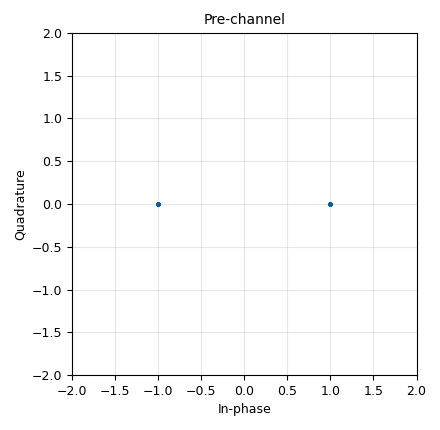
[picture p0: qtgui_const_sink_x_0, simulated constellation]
<?xml version='1.0' encoding='utf-8'?>
<?grc format='1' created='3.7.11'?>
<flow_graph>
<block>
<key>options</key>
<param><key>id</key><value>top_block</value></param>
<param><key>generate_options</key><value>qt_gui</value></param>
</block>
<block>
<key>variable</key>
<param><key>id</key><value>samp_rate</value></param>
<param><key>value</key><value>32000</value></param>
</block>
<block>
<key>analog_const_source_x</key>
<param><key>id</key><value>analog_const_source_x_0</value></param>
<param><key>const</key><value>0</value></param>
<param><key>type</key><value>float</value></param>
</block>
<block>
<key>analog_random_uniform_source_x</key>
<param><key>id</key><value>analog_random_uniform_source_x_0</value></param>
<param><key>maximum</key><value>2</value></param>
<param><key>minimum</key><value>0</value></param>
<param><key>type</key><value>int</value></param>
<param><key>seed</key><value>0</value></param>
</block>
<block>
<key>blocks_add_const_vxx</key>
<param><key>id</key><value>blocks_add_const_vxx_0</value></param>
<param><key>const</key><value>-1</value></param>
<param><key>type</key><value>float</value></param>
</block>
<block>
<key>blocks_float_to_complex</key>
<param><key>id</key><value>blocks_float_to_complex_0</value></param>
</block>
<block>
<key>blocks_int_to_float</key>
<param><key>id</key><value>blocks_int_to_float_0</value></param>
<param><key>scale</key><value>1</value></param>
</block>
<block>
<key>blocks_multiply_const_vxx</key>
<param><key>id</key><value>blocks_multiply_const_vxx_0</value></param>
<param><key>const</key><value>2</value></param>
<param><key>type</key><value>float</value></param>
</block>
<block>
<key>blocks_throttle</key>
<param><key>id</key><value>blocks_throttle_0</value></param>
<param><key>samples_per_second</key><value>samp_rate/8</value></param>
<param><key>type</key><value>complex</value></param>
</block>
<block>
<key>qtgui_const_sink_x</key>
<param><key>id</key><value>qtgui_const_sink_x_0</value></param>
<param><key>gui_hint</key><value>(0,0)</value></param>
<param><key>name</key><value>"Pre-channel"</value></param>
<param><key>size</key><value>1024</value></param>
<param><key>type</key><value>complex</value></param>
</block>
<block>
<key>qtgui_const_sink_x</key>
<param><key>id</key><value>qtgui_const_sink_x_0_0</value></param>
<param><key>gui_hint</key><value>(0, 1)</value></param>
<param><key>name</key><value>"Post-channel"</value></param>
<param><key>size</key><value>2048</value></param>
<param><key>type</key><value>complex</value></param>
</block>
<block>
<key>watterson_watterson</key>
<param><key>id</key><value>watterson_watterson_0</value></param>
<param><key>doppler_spread</key><value>1</value></param>
<param><key>n_paths</key><value>3</value></param>
<param><key>path_delays_s</key><value>[0, 0.01, 0.05]</value></param>
<param><key>path_gains_dB</key><value>[0, 0, 1]</value></param>
</block>
<connection><source_block_id>analog_const_source_x_0</source_block_id><sink_block_id>blocks_float_to_complex_0</sink_block_id><source_key>0</source_key><sink_key>1</sink_key></connection>
<connection><source_block_id>analog_random_uniform_source_x_0</source_block_id><sink_block_id>blocks_int_to_float_0</sink_block_id><source_key>0</source_key><sink_key>0</sink_key></connection>
<connection><source_block_id>blocks_add_const_vxx_0</source_block_id><sink_block_id>blocks_float_to_complex_0</sink_block_id><source_key>0</source_key><sink_key>0</sink_key></connection>
<connection><source_block_id>blocks_float_to_complex_0</source_block_id><sink_block_id>blocks_throttle_0</sink_block_id><source_key>0</source_key><sink_key>0</sink_key></connection>
<connection><source_block_id>blocks_int_to_float_0</source_block_id><sink_block_id>blocks_multiply_const_vxx_0</sink_block_id><source_key>0</source_key><sink_key>0</sink_key></connection>
<connection><source_block_id>blocks_multiply_const_vxx_0</source_block_id><sink_block_id>blocks_add_const_vxx_0</sink_block_id><source_key>0</source_key><sink_key>0</sink_key></connection>
<connection><source_block_id>blocks_throttle_0</source_block_id><sink_block_id>qtgui_const_sink_x_0</sink_block_id><source_key>0</source_key><sink_key>0</sink_key></connection>
<connection><source_block_id>blocks_throttle_0</source_block_id><sink_block_id>watterson_watterson_0</sink_block_id><source_key>0</source_key><sink_key>0</sink_key></connection>
<connection><source_block_id>watterson_watterson_0</source_block_id><sink_block_id>qtgui_const_sink_x_0_0</sink_block_id><source_key>0</source_key><sink_key>0</sink_key></connection>
</flow_graph>
